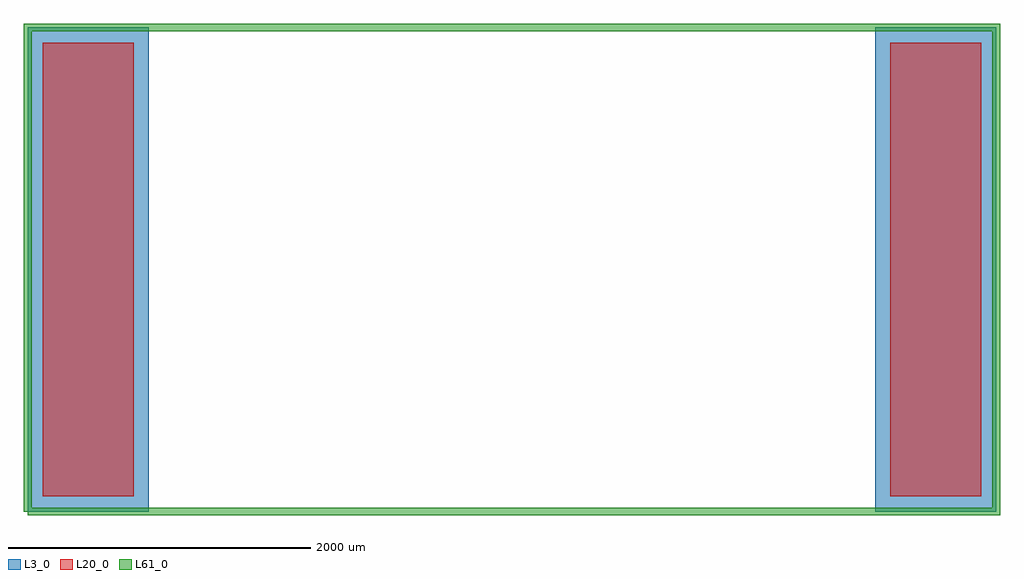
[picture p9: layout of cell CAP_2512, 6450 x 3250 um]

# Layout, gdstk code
import gdstk
lib = gdstk.Library(unit=1e-6, precision=1e-09)
def R(c, l, rs):  # rectangles x0, y0, x1, y1
    for r in rs: c.add(gdstk.rectangle(r[:2], r[2:], *l))
L3_0 = (3, 0)
L20_0 = (20, 0)
L61_0 = (61, 0)

cap_2512 = lib.new_cell('CAP_2512')
R(cap_2512, L3_0, [(0,0,800,3200), (5600,0,6400,3200)])
R(cap_2512, L20_0, [(100,100,700,3100), (5700,100,6300,3100)])
cap_2512.add(gdstk.FlexPath([(0,0),(6400,0),(6400,3200),(0,3200),(0,0)], 50, ends="flush", simple_path=True, layer=61, datatype=0))  # L61_0

lib.write_gds('CAP_2512.gds')
